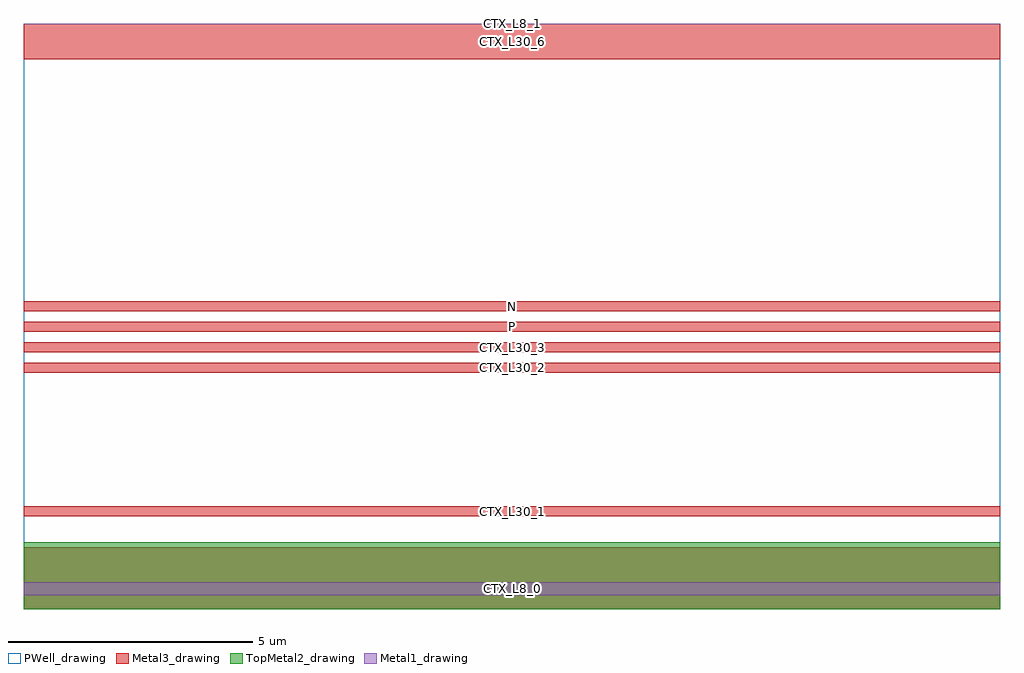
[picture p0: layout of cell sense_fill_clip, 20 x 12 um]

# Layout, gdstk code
import gdstk
lib = gdstk.Library(unit=1e-6, precision=1e-09)
def R(c, l, rs):  # rectangles x0, y0, x1, y1
    for r in rs: c.add(gdstk.rectangle(r[:2], r[2:], *l))
def A(c, l, x, y, w, h, nx, ny, dx, dy):  # array of equal rectangles
    R(c, l, [(x+i*dx, y+j*dy, x+i*dx+w, y+j*dy+h) for i in range(nx) for j in range(ny)])
Metal1_drawing = (8, 0)
Metal3_drawing = (30, 0)
PWell_drawing = (46, 0)
TopMetal2_drawing = (134, 0)

sense_fill_clip = lib.new_cell('sense_fill_clip')
R(sense_fill_clip, Metal1_drawing, [(838.16,942.02,858.16,942.28), (838.16,953.72,858.16,953.73)])
A(sense_fill_clip, Metal3_drawing, 838.16, 946.58, 20, 0.2, 1, 4, 0, 0.42)
R(sense_fill_clip, Metal3_drawing, [(838.16,941.73,858.16,943), (838.16,943.64,858.16,943.84), (838.16,953,858.16,953.73)])
R(sense_fill_clip, PWell_drawing, [(838.16,941.73,858.16,953.73), (838.16,941.73,858.16,953.73)])
R(sense_fill_clip, TopMetal2_drawing, [(838.16,941.73,858.16,943.1)])
sense_fill_clip.add(gdstk.Label('CTX_L8_1', (848.16,953.725), layer=8, texttype=25))
sense_fill_clip.add(gdstk.Label('CTX_L8_0', (848.16,942.15), layer=8, texttype=25))
sense_fill_clip.add(gdstk.Label('CTX_L30_6', (848.16,953.365), layer=30, texttype=25))
sense_fill_clip.add(gdstk.Label('P', (848.16,947.52), layer=30, texttype=25))
sense_fill_clip.add(gdstk.Label('N', (848.16,947.94), layer=30, texttype=25))
sense_fill_clip.add(gdstk.Label('CTX_L30_2', (848.16,946.68), layer=30, texttype=25))
sense_fill_clip.add(gdstk.Label('CTX_L30_3', (848.16,947.1), layer=30, texttype=25))
sense_fill_clip.add(gdstk.Label('CTX_L30_1', (848.16,943.74), layer=30, texttype=25))
sense_fill_clip.add(gdstk.Label('CTX_L30_0', (848.16,942.365), layer=30, texttype=25))
sense_fill_clip.add(gdstk.Label('CTX_L134_0', (848.16,942.415), layer=134, texttype=25))

lib.write_gds('sense_fill_clip.gds')
